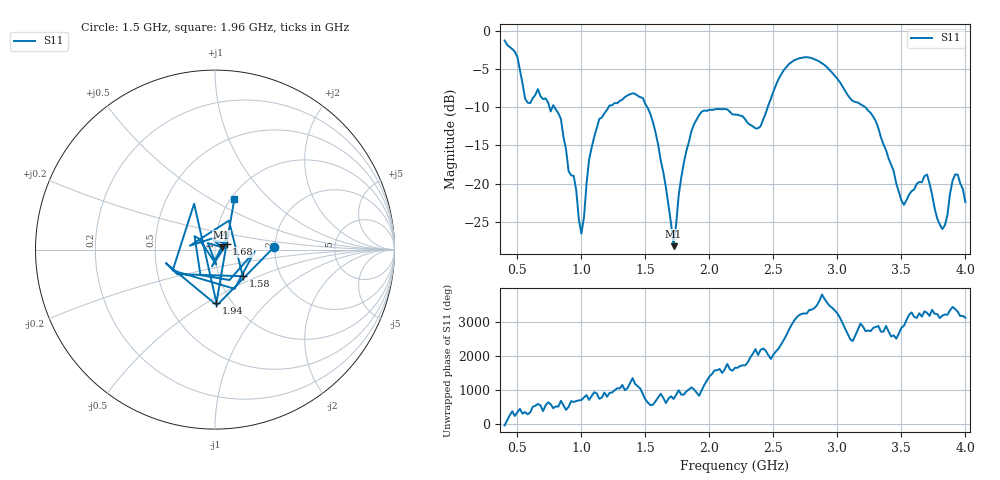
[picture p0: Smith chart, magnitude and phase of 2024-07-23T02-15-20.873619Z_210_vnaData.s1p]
!Created with skrf (http://scikit-rf.org).
# Hz S RI R 50.0
!freq ReS11 ImS11
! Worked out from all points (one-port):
!   181 points, 400 MHz to 4 GHz, reference 50 ohm
!   lowest |S11| = -28.2 dB at 1.72 GHz (marker M1), VSWR 1.08, Z = 53.8 + j1.47 ohm
!   |S11| at or under -10 dB: 789.4 MHz to 1.212 GHz (422.6 MHz wide, 42.2 % of centre); 1.514 GHz to 2.456 GHz (941.6 MHz wide, 47.4 % of centre); 3.218 GHz to end of sweep (the widest 3 of 4)
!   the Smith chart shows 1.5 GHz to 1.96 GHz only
!   S11 on the Smith chart (normalised r, x): 1.5 GHz: 1.98, +0.07; 1.58 GHz: 1.30, -0.40; 1.68 GHz: 1.14, +0.07; 1.94 GHz: 0.85, -0.55; 1.96 GHz: 1.04, +0.64
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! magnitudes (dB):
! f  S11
! 400 MHz  -1.3
! 500 MHz  -3.5
! 560 MHz  -8.9
! 660 MHz  -7.6
! 860 MHz  -13.9
! 1 GHz  -26.5
! 1.06 GHz  -16.8
! 1.14 GHz  -11.5
! 1.3 GHz  -9.2
! 1.5 GHz  -9.6
! 1.58 GHz  -13.4
! 1.68 GHz  -22.8
! 1.72 GHz  -28.2
! 1.76 GHz  -21.5
! 1.86 GHz  -13.1
! 1.94 GHz  -10.6
! 1.96 GHz  -10.4
! 2.2 GHz  -11.0
! 2.4 GHz  -12.5
! 2.66 GHz  -3.9
! 3.1 GHz  -8.9
! 3.28 GHz  -11.2
! 3.5 GHz  -22.2
! 3.56 GHz  -21.5
! 3.7 GHz  -18.8
! 3.82 GHz  -25.9
! 3.92 GHz  -18.8
! 4 GHz  -22.4
